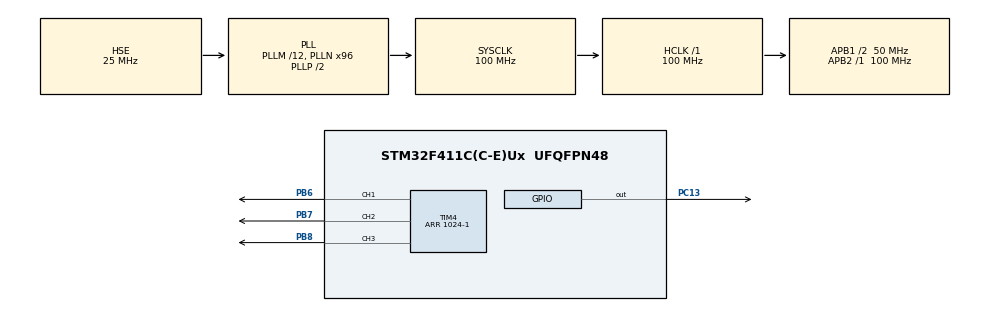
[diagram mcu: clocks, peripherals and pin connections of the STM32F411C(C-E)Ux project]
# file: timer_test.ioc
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Mcu.Family=STM32F4
Mcu.Name=STM32F411C(C-E)Ux
Mcu.Package=UFQFPN48
NVIC.PriorityGroup=NVIC_PRIORITYGROUP_4
NVIC.TIM1_UP_TIM10_IRQn=true\:0\:0\:false\:false\:true\:true\:true\:true
PB6.Signal=S_TIM4_CH1
PB7.Signal=S_TIM4_CH2
PB8.Signal=S_TIM4_CH3
PC13-ANTI_TAMP.Signal=GPIO_Output
PC14-OSC32_IN.Mode=LSE-External-Oscillator
PC14-OSC32_IN.Signal=RCC_OSC32_IN
PC15-OSC32_OUT.Mode=LSE-External-Oscillator
PC15-OSC32_OUT.Signal=RCC_OSC32_OUT
PH0\ -\ OSC_IN.Mode=HSE-External-Oscillator
PH0\ -\ OSC_IN.Signal=RCC_OSC_IN
PH1\ -\ OSC_OUT.Mode=HSE-External-Oscillator
PH1\ -\ OSC_OUT.Signal=RCC_OSC_OUT
ProjectManager.HeapSize=0x200
ProjectManager.StackSize=0x400
ProjectManager.TargetToolchain=STM32CubeIDE
RCC.48MHZClocksFreq_Value=50000000
RCC.AHBFreq_Value=100000000
RCC.APB1CLKDivider=RCC_HCLK_DIV2
RCC.APB1Freq_Value=50000000
RCC.APB1TimFreq_Value=100000000
RCC.APB2Freq_Value=100000000
RCC.APB2TimFreq_Value=100000000
RCC.CortexFreq_Value=100000000
RCC.HCLKFreq_Value=100000000
RCC.HSE_VALUE=25000000
RCC.HSI_VALUE=16000000
RCC.PLLM=12
RCC.PLLN=96
RCC.PLLSourceVirtual=RCC_PLLSOURCE_HSE
RCC.SYSCLKFreq_VALUE=100000000
RCC.SYSCLKSource=RCC_SYSCLKSOURCE_PLLCLK
RCC.VCOOutputFreq_Value=200000000
SH.S_TIM4_CH1.0=TIM4_CH1,PWM Generation1 CH1
SH.S_TIM4_CH2.0=TIM4_CH2,PWM Generation2 CH2
SH.S_TIM4_CH3.0=TIM4_CH3,PWM Generation3 CH3
TIM10.Period=50000-1
TIM10.Prescaler=1000-1
TIM4.Channel-PWM\ Generation1\ CH1=TIM_CHANNEL_1
TIM4.Channel-PWM\ Generation2\ CH2=TIM_CHANNEL_2
TIM4.Channel-PWM\ Generation3\ CH3=TIM_CHANNEL_3
TIM4.Period=1024-1
VP_TIM10_VS_ClockSourceINT.Mode=Enable_Timer
VP_TIM4_VS_ClockSourceINT.Mode=Internal
board=custom

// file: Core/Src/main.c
/* USER CODE BEGIN Header */
/**
  ******************************************************************************
  * @file           : main.c
  * @brief          : Main program body
  ******************************************************************************
  * @attention
  *
  * Copyright (c) 2024 STMicroelectronics.
  * All rights reserved.
  *
  * This software is licensed under terms that can be found in the LICENSE file
  * in the root directory of this software component.
  * If no LICENSE file comes with this software, it is provided AS-IS.
  *
  ******************************************************************************
  */
/* USER CODE END Header */
#include "main.h"

TIM_HandleTypeDef htim4;
TIM_HandleTypeDef htim10;

void SystemClock_Config(void);
static void MX_GPIO_Init(void);
static void MX_TIM10_Init(void);
static void MX_TIM4_Init(void);

int main(void)
{

  /* MCU Configuration--------------------------------------------------------*/

  /* Reset of all peripherals, Initializes the Flash interface and the Systick. */
  HAL_Init();

  /* Configure the system clock */
  SystemClock_Config();

  /* Initialize all configured peripherals */
  MX_GPIO_Init();
  MX_TIM10_Init();
  MX_TIM4_Init();
  /* USER CODE BEGIN 2 */
  HAL_TIM_Base_Start_IT(&htim10);
  HAL_TIM_PWM_Start(&htim4, TIM_CHANNEL_1);
  HAL_TIM_PWM_Start(&htim4, TIM_CHANNEL_2);
  HAL_TIM_PWM_Start(&htim4, TIM_CHANNEL_3);
  /* USER CODE END 2 */

  /* Infinite loop */
  /* USER CODE BEGIN WHILE */
  while (1)
  {
	__IO uint32_t max_val = htim4.Instance->ARR + 1;
	__IO uint32_t* r_ch = &htim4.Instance->CCR1;
	__IO uint32_t* g_ch = &htim4.Instance->CCR2;
	__IO uint32_t* b_ch = &htim4.Instance->CCR3;

	for (int i = 0; i <= max_val; i++) {
		*r_ch = i;
		*g_ch = i;
		*b_ch = i;
		HAL_Delay(2);
	}

	for (int i = max_val; i >= 0; i--) {
		*r_ch = i;
		*g_ch = i;
		*b_ch = i;
		HAL_Delay(5);
	}
    /* USER CODE END WHILE */

  }
}

void SystemClock_Config(void)
{
  RCC_OscInitTypeDef RCC_OscInitStruct = {0};
  RCC_ClkInitTypeDef RCC_ClkInitStruct = {0};

  /** Configure the main internal regulator output voltage
  */
  __HAL_RCC_PWR_CLK_ENABLE();
  __HAL_PWR_VOLTAGESCALING_CONFIG(PWR_REGULATOR_VOLTAGE_SCALE1);

  /** Initializes the RCC Oscillators according to the specified parameters
  * in the RCC_OscInitTypeDef structure.
  */
  RCC_OscInitStruct.OscillatorType = RCC_OSCILLATORTYPE_HSE;
  RCC_OscInitStruct.HSEState = RCC_HSE_ON;
  RCC_OscInitStruct.PLL.PLLState = RCC_PLL_ON;
  RCC_OscInitStruct.PLL.PLLSource = RCC_PLLSOURCE_HSE;
  RCC_OscInitStruct.PLL.PLLM = 12;
  RCC_OscInitStruct.PLL.PLLN = 96;
  RCC_OscInitStruct.PLL.PLLP = RCC_PLLP_DIV2;
  RCC_OscInitStruct.PLL.PLLQ = 4;
  if (HAL_RCC_OscConfig(&RCC_OscInitStruct) != HAL_OK)
  {
    Error_Handler();
  }

  /** Initializes the CPU, AHB and APB buses clocks
  */
  RCC_ClkInitStruct.ClockType = RCC_CLOCKTYPE_HCLK|RCC_CLOCKTYPE_SYSCLK
                              |RCC_CLOCKTYPE_PCLK1|RCC_CLOCKTYPE_PCLK2;
  RCC_ClkInitStruct.SYSCLKSource = RCC_SYSCLKSOURCE_PLLCLK;
  RCC_ClkInitStruct.AHBCLKDivider = RCC_SYSCLK_DIV1;
  RCC_ClkInitStruct.APB1CLKDivider = RCC_HCLK_DIV2;
  RCC_ClkInitStruct.APB2CLKDivider = RCC_HCLK_DIV1;

  if (HAL_RCC_ClockConfig(&RCC_ClkInitStruct, FLASH_LATENCY_3) != HAL_OK)
  {
    Error_Handler();
  }
}

static void MX_TIM4_Init(void)
{

  TIM_ClockConfigTypeDef sClockSourceConfig = {0};
  TIM_MasterConfigTypeDef sMasterConfig = {0};
  TIM_OC_InitTypeDef sConfigOC = {0};

  htim4.Instance = TIM4;
  htim4.Init.Prescaler = 0;
  htim4.Init.CounterMode = TIM_COUNTERMODE_UP;
  htim4.Init.Period = 1024-1;
  htim4.Init.ClockDivision = TIM_CLOCKDIVISION_DIV1;
  htim4.Init.AutoReloadPreload = TIM_AUTORELOAD_PRELOAD_DISABLE;
  if (HAL_TIM_Base_Init(&htim4) != HAL_OK)
  {
    Error_Handler();
  }
  sClockSourceConfig.ClockSource = TIM_CLOCKSOURCE_INTERNAL;
  if (HAL_TIM_ConfigClockSource(&htim4, &sClockSourceConfig) != HAL_OK)
  {
    Error_Handler();
  }
  if (HAL_TIM_PWM_Init(&htim4) != HAL_OK)
  {
    Error_Handler();
  }
  sMasterConfig.MasterOutputTrigger = TIM_TRGO_RESET;
  sMasterConfig.MasterSlaveMode = TIM_MASTERSLAVEMODE_DISABLE;
  if (HAL_TIMEx_MasterConfigSynchronization(&htim4, &sMasterConfig) != HAL_OK)
  {
    Error_Handler();
  }
  sConfigOC.OCMode = TIM_OCMODE_PWM1;
  sConfigOC.Pulse = 0;
  sConfigOC.OCPolarity = TIM_OCPOLARITY_HIGH;
  sConfigOC.OCFastMode = TIM_OCFAST_DISABLE;
  if (HAL_TIM_PWM_ConfigChannel(&htim4, &sConfigOC, TIM_CHANNEL_1) != HAL_OK)
  {
    Error_Handler();
  }
  if (HAL_TIM_PWM_ConfigChannel(&htim4, &sConfigOC, TIM_CHANNEL_2) != HAL_OK)
  {
    Error_Handler();
  }
  if (HAL_TIM_PWM_ConfigChannel(&htim4, &sConfigOC, TIM_CHANNEL_3) != HAL_OK)
  {
    Error_Handler();
  }
  HAL_TIM_MspPostInit(&htim4);

}

static void MX_TIM10_Init(void)
{

  htim10.Instance = TIM10;
  htim10.Init.Prescaler = 1000-1;
  htim10.Init.CounterMode = TIM_COUNTERMODE_UP;
  htim10.Init.Period = 50000-1;
  htim10.Init.ClockDivision = TIM_CLOCKDIVISION_DIV1;
  htim10.Init.AutoReloadPreload = TIM_AUTORELOAD_PRELOAD_DISABLE;
  if (HAL_TIM_Base_Init(&htim10) != HAL_OK)
  {
    Error_Handler();
  }

}

static void MX_GPIO_Init(void)
{
  GPIO_InitTypeDef GPIO_InitStruct = {0};

  /* GPIO Ports Clock Enable */
  __HAL_RCC_GPIOC_CLK_ENABLE();
  __HAL_RCC_GPIOH_CLK_ENABLE();
  __HAL_RCC_GPIOB_CLK_ENABLE();

  /*Configure GPIO pin Output Level */
  HAL_GPIO_WritePin(GPIOC, GPIO_PIN_13, GPIO_PIN_RESET);

  /*Configure GPIO pin : PC13 */
  GPIO_InitStruct.Pin = GPIO_PIN_13;
  GPIO_InitStruct.Mode = GPIO_MODE_OUTPUT_PP;
  GPIO_InitStruct.Pull = GPIO_NOPULL;
  GPIO_InitStruct.Speed = GPIO_SPEED_FREQ_LOW;
  HAL_GPIO_Init(GPIOC, &GPIO_InitStruct);

}

/* USER CODE BEGIN 4 */
// Interrupt Handling Function
void HAL_TIM_PeriodElapsedCallback(TIM_HandleTypeDef *htim)
{
  HAL_GPIO_TogglePin(GPIOC, GPIO_PIN_13);
}
/* USER CODE END 4 */

void Error_Handler(void)
{
  __disable_irq();
  while (1)
  {
  }
}
